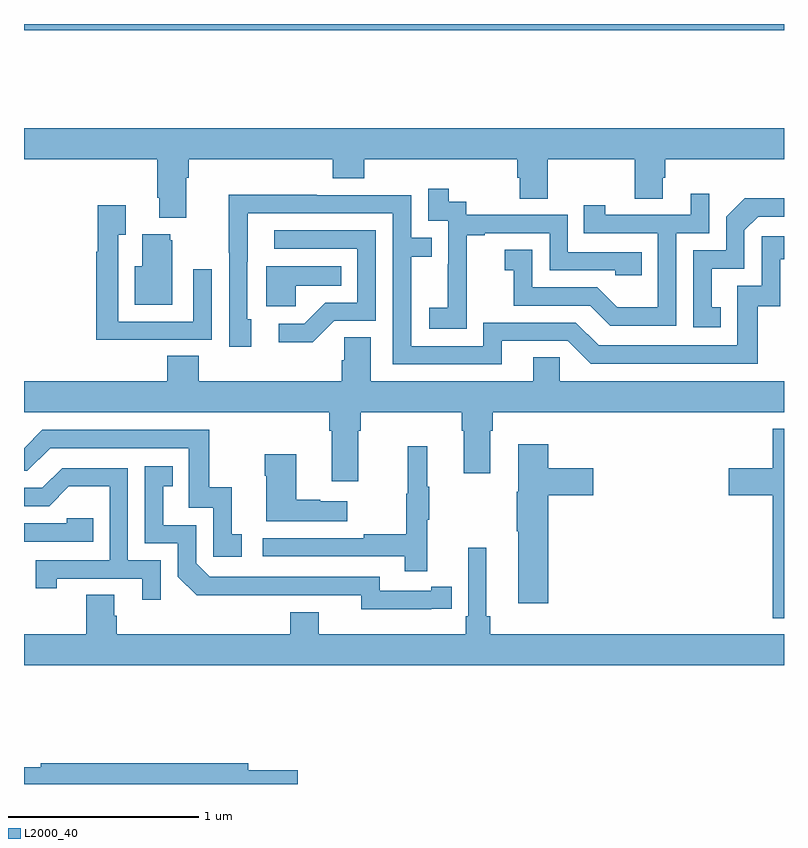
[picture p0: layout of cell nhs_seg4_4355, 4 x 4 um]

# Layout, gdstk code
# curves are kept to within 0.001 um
import gdstk
lib = gdstk.Library(unit=1e-6, precision=1e-09)
def R(c, l, rs):  # rectangles x0, y0, x1, y1
    for r in rs: c.add(gdstk.rectangle(r[:2], r[2:], *l))
def P(c, l, *ps):  # polygons
    for p in ps: c.add(gdstk.Polygon(p, *l))
L2000_40 = (2000, 40)

nhs_seg4_4355 = lib.new_cell('nhs_seg4_4355')
R(nhs_seg4_4355, L2000_40, [(345,762.868,349,762.9)])
P(nhs_seg4_4355, L2000_40, [(345.853,762.092),(345.866,762.092),(345.866,762.188),(346.625,762.188),(346.625,762.089),(346.79,762.089),(346.79,762.188),(347.597,762.188),(347.597,762.09),(347.609,762.09),(347.609,761.98),(347.757,761.98),(347.757,762.188),(348.214,762.188),(348.214,761.98),(348.361,761.98),(348.361,762.09),(348.374,762.09),(348.374,762.188),(349,762.188),(349,762.352),(345,762.352),(345,762.188),(345.701,762.188),(345.701,761.986),(345.713,761.986),(345.713,761.879),(345.853,761.879)],
  [(347.331,761.503),(347.33,761.503),(347.33,761.787),(347.425,761.787),(347.425,761.799),(347.766,761.799),(347.766,761.604),(348.111,761.604),(348.111,761.577),(348.251,761.577),(348.251,761.7),(347.862,761.7),(347.862,761.895),(347.328,761.895),(347.328,761.964),(347.236,761.964),(347.236,762.034),(347.127,762.034),(347.127,761.865),(347.232,761.865),(347.232,761.636),(347.231,761.636),(347.231,761.407),(347.133,761.407),(347.133,761.297),(347.331,761.297)],
  [(348.432,761.799),(348.606,761.799),(348.606,762.007),(348.509,762.007),(348.509,761.895),(348.058,761.895),(348.058,761.947),(347.947,761.947),(347.947,761.799),(348.336,761.799),(348.336,761.41),(348.122,761.41),(348.018,761.514),(347.676,761.514),(347.676,761.713),(347.529,761.713),(347.529,761.603),(347.578,761.603),(347.578,761.418),(347.981,761.418),(348.086,761.313),(348.432,761.313)],
  [(347.515,761.232),(347.862,761.232),(347.982,761.112),(348.862,761.112),(348.862,761.415),(348.98,761.415),(348.98,761.661),(349,761.661),(349,761.782),(348.882,761.782),(348.882,761.523),(348.753,761.523),(348.753,761.208),(348.024,761.208),(347.904,761.328),(347.418,761.328),(347.418,761.205),(347.037,761.205),(347.037,761.674),(347.147,761.674),(347.147,761.775),(347.037,761.775),(347.037,762),(346.541,762),(346.541,762.002),(346.078,762.002),(346.078,761.695),(346.08,761.695),(346.08,761.202),(346.195,761.202),(346.195,761.346),(346.176,761.346),(346.177,761.904),(346.941,761.904),(346.941,761.109),(347.515,761.109)],
  [(348.668,761.409),(348.619,761.409),(348.619,761.613),(348.792,761.613),(348.792,761.814),(348.864,761.886),(349,761.886),(349,761.984),(348.794,761.984),(348.696,761.886),(348.696,761.709),(348.522,761.709),(348.522,761.304),(348.668,761.304)],
  [(345.671,761.238),(345.987,761.238),(345.987,761.608),(345.891,761.608),(345.891,761.334),(345.495,761.334),(345.495,761.791),(345.535,761.791),(345.535,761.947),(345.387,761.947),(345.387,761.702),(345.379,761.702),(345.379,761.237),(345.671,761.237)],
  [(346.632,761.337),(346.851,761.337),(346.851,761.814),(346.317,761.814),(346.317,761.718),(346.755,761.718),(346.755,761.433),(346.586,761.433),(346.475,761.322),(346.341,761.322),(346.341,761.225),(346.519,761.225)],
  [(345.781,761.763),(345.77,761.763),(345.77,761.794),(345.623,761.794),(345.623,761.626),(345.584,761.626),(345.584,761.423),(345.781,761.423)],
  [(346.431,761.522),(346.67,761.522),(346.67,761.626),(346.274,761.626),(346.274,761.414),(346.431,761.414)],
  [(346.759,760.76),(346.772,760.76),(346.772,760.856),(347.303,760.856),(347.303,760.76),(347.315,760.76),(347.315,760.536),(347.455,760.536),(347.455,760.76),(347.468,760.76),(347.468,760.856),(349,760.856),(349,761.02),(347.82,761.02),(347.82,761.147),(347.681,761.147),(347.681,761.02),(346.825,761.02),(346.825,761.252),(346.686,761.252),(346.686,761.129),(346.673,761.129),(346.673,761.02),(345.92,761.02),(345.92,761.153),(345.755,761.153),(345.755,761.02),(345,761.02),(345,760.856),(346.607,760.856),(346.607,760.76),(346.619,760.76),(346.619,760.494),(346.759,760.494)],
  [(349,760.771),(348.941,760.771),(348.941,760.563),(348.708,760.563),(348.708,760.421),(348.941,760.421),(348.941,759.773),(349,759.773)],
  [(346.147,760.215),(346.094,760.215),(346.094,760.462),(345.976,760.462),(345.976,760.764),(345.096,760.764),(345,760.668),(345,760.548),(345.018,760.548),(345.138,760.668),(345.867,760.668),(345.867,760.353),(345.996,760.353),(345.996,760.095),(346.147,760.095)],
  [(347.759,760.421),(347.995,760.421),(347.995,760.563),(347.759,760.563),(347.759,760.687),(347.6,760.687),(347.6,760.437),(347.593,760.437),(347.593,760.231),(347.6,760.231),(347.6,759.852),(347.759,759.852)],
  [(347.123,760.291),(347.134,760.291),(347.134,760.465),(347.123,760.465),(347.123,760.678),(347.02,760.678),(347.02,760.428),(347.013,760.428),(347.013,760.214),(346.789,760.214),(346.789,760.194),(346.257,760.194),(346.257,760.098),(347.005,760.098),(347.005,760.02),(347.123,760.02)],
  [(346.702,760.387),(346.559,760.387),(346.559,760.397),(346.432,760.397),(346.432,760.636),(346.267,760.636),(346.267,760.523),(346.274,760.523),(346.274,760.283),(346.702,760.283)],
  [(347.144,759.822),(347.252,759.822),(347.252,759.938),(347.144,759.938),(347.144,759.918),(346.872,759.918),(346.872,759.99),(345.978,759.99),(345.906,760.062),(345.906,760.263),(345.733,760.263),(345.733,760.467),(345.782,760.467),(345.782,760.573),(345.636,760.573),(345.636,760.167),(345.81,760.167),(345.81,759.99),(345.908,759.893),(346.776,759.894),(346.776,759.821)],
  [(345.72,760.077),(345.546,760.077),(345.546,760.563),(345.2,760.563),(345.095,760.458),(345,760.458),(345,760.362),(345.132,760.362),(345.236,760.466),(345.45,760.466),(345.45,760.077),(345.061,760.077),(345.061,759.93),(345.172,759.93),(345.172,759.981),(345.623,759.981),(345.623,759.87),(345.72,759.87)],
  [(345.365,760.299),(345.225,760.299),(345.225,760.272),(345,760.272),(345,760.176),(345.365,760.176)],
  [(349,759.688),(347.453,759.688),(347.453,759.784),(347.434,759.784),(347.434,760.144),(347.337,760.144),(347.337,759.784),(347.324,759.784),(347.324,759.688),(346.552,759.688),(346.552,759.805),(346.4,759.805),(346.4,759.688),(345.488,759.688),(345.488,759.786),(345.475,759.786),(345.475,759.896),(345.328,759.896),(345.328,759.688),(345,759.688),(345,759.524),(349,759.524)],
  [(346.441,758.972),(346.18,758.972),(346.18,759.008),(345.088,759.008),(345.088,758.989),(345,758.989),(345,758.9),(346.441,758.9)])

lib.write_gds('nhs_seg4_4355.gds')
